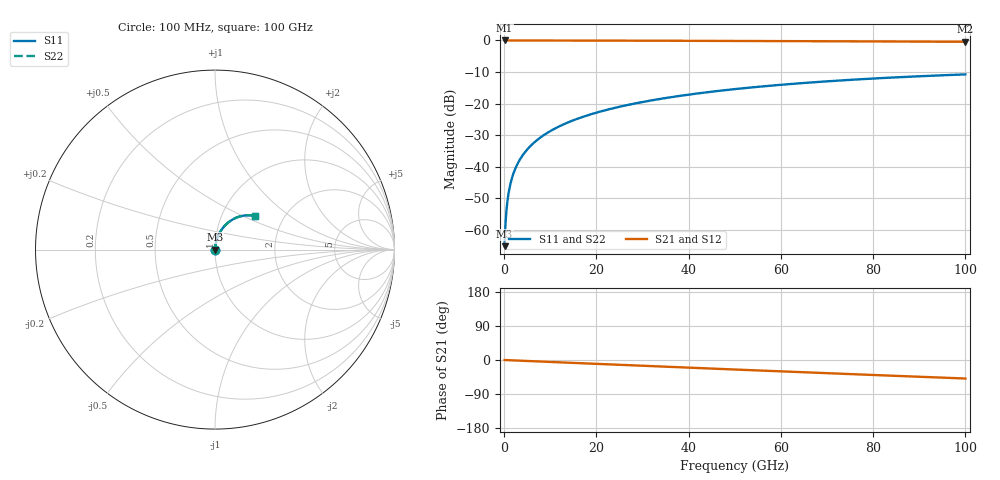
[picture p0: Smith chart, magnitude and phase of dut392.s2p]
! Touchstone file exported from HFSS 2026.1.0
!  File:  C:/ffzhzh/LocalFiles/Ansys_Project_Files/temp_train_TSV_392_1783510710_44152.aedt
!  Generated:  07:39:56 PM Jul  8, 2026
!  Design:  TSV
!  Project:  temp_train_TSV_392_1783510710_44152
! Variables:
!  h_bsmrdl = 2um
!  h_ox = 20um
!  h_rdl = 5um
!  h_sub = 94.03um
!  h_tmrdl = 5um
!  h_tsv = 94.03um
!  h_via = 3um
!  l_bsmrdl = 300um
!  l_sub = 411.32um
!  l_tmrdl = 200um
!  m_sub = 200um
!  pitch = 42.87um
!  r_tsv = 5.66um
!  s_tmrdl = 10um
!  w_bsmrdl = 18um
!  w_sub = 500um
!  w_tmrdl = 12um
!  x_tsv_center1 = 206um
!  x_tsv_center2 = 524um
!  x_tsv_center3 = 736um
!  x_tsv_center4 = 1054um
!  x_tsv_center5 = 1266um
!  x_tsv_center6 = 1584um
# GHz S MA R 50.000000
! Terminal data exported
! Port[1] = TSV1_1_T1
! Port[2] = TSV1_1_T2
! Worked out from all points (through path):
!   1000 points, 100 MHz to 100 GHz, reference 50 ohm
!   highest |S21| = 0.00 dB at 100 MHz (marker M1); lowest = -0.4 dB at 100 GHz (marker M2)
!   group delay of S21, straight-line fit = 1.36 ps
!   lowest |S11| = -65.2 dB at 100 MHz (marker M3), VSWR 1.00, Z = 50 + j0.041 ohm
!   |S11| at or under -10 dB: start of sweep to end of sweep
!   |S22| runs from -65.2 to -10.8 dB; largest |S21 - S12| = 5.4e-15
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0.1  0.0005505 48.1  0.9996 -0.1  0.9996 -0.1  0.0005505 48.1
! Gamma 0 0 0 0
! Port Impedance 50 0 50 0
0.4  0.001641 75.4  0.9996 -0.2  0.9996 -0.2  0.001641 75.4
0.7  0.00279 80.5  0.9996 -0.4  0.9996 -0.4  0.00279 80.5
0.8  0.003175 81.4  0.9995 -0.4  0.9995 -0.4  0.003175 81.4
1.1  0.004328 82.9  0.9995 -0.6  0.9995 -0.6  0.004328 82.9
1.4  0.005476 83.6  0.9994 -0.7  0.9994 -0.7  0.005476 83.6
1.9  0.007369 84.1  0.9993 -1.0  0.9993 -1.0  0.007369 84.1
2.4  0.009238 84.2  0.9992 -1.3  0.9992 -1.3  0.009238 84.2
3  0.01145 84.2  0.9991 -1.6  0.9991 -1.6  0.01145 84.2
3.8  0.01437 84.2  0.9989 -2.0  0.9989 -2.0  0.01437 84.2
4.8  0.01799 84.0  0.9987 -2.5  0.9987 -2.5  0.01799 84.0
6  0.02231 83.7  0.9985 -3.1  0.9985 -3.1  0.02231 83.7
8.8  0.03235 82.8  0.998 -4.5  0.998 -4.5  0.03235 82.8
12.4  0.04515 81.4  0.9972 -6.3  0.9972 -6.3  0.04515 81.4
16.8  0.06063 79.5  0.9961 -8.6  0.9961 -8.6  0.06063 79.5
24.2  0.08622 76.1  0.9938 -12.3  0.9938 -12.3  0.08622 76.1
33.4  0.1171 71.7  0.9902 -16.9  0.9902 -16.9  0.1171 71.7
41.2  0.1423 68.0  0.9867 -20.8  0.9867 -20.8  0.1423 68.0
50.1  0.1697 63.7  0.9821 -25.2  0.9821 -25.2  0.1697 63.7
66.7  0.2165 55.8  0.9724 -33.2  0.9724 -33.2  0.2165 55.8
83.4  0.2569 48.0  0.9623 -41.1  0.9623 -41.1  0.2569 48.0
100  0.2897 40.4  0.9526 -48.9  0.9526 -48.9  0.2897 40.4
